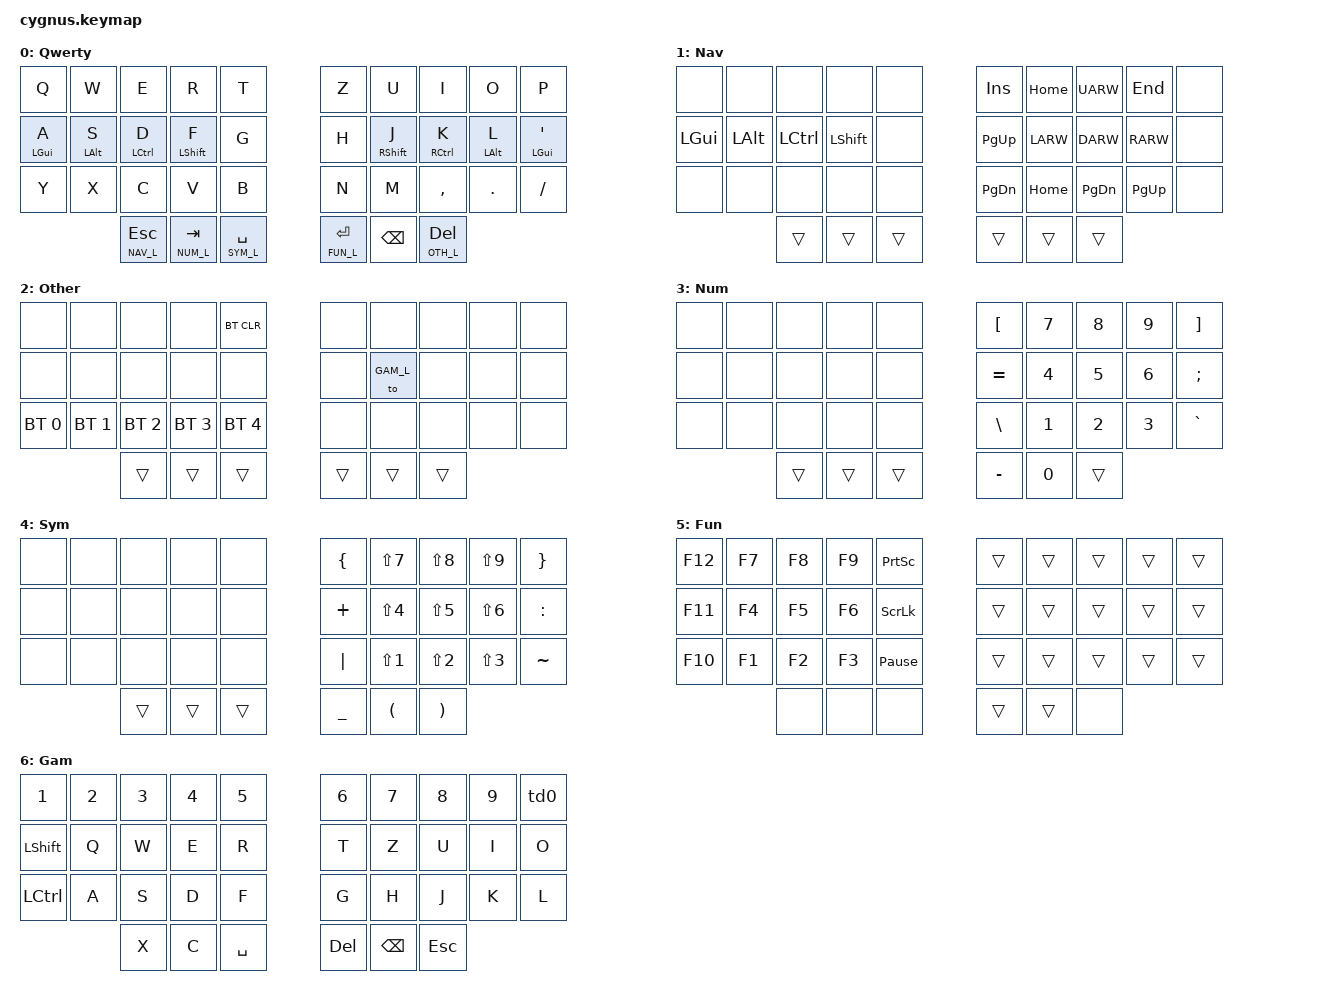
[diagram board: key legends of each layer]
/*
*
* Copyright (c) 2024 Rafael Romão
* SPDX-License-Identifier: MIT
*
*/

#include <behaviors.dtsi>
#include <dt-bindings/zmk/keys.h>
#include <dt-bindings/zmk/bt.h>

#define HOM_L 0
#define NAV_L 1
#define OTH_L 2
#define NUM_L 3
#define SYM_L 4
#define FUN_L 5
#define GAM_L 6

/ {
    behaviors {
        hm: homerow_mods {
            compatible = "zmk,behavior-hold-tap";
            label = "homerow mods";
            #binding-cells = <2>;
            tapping_term_ms = <200>;
            flavor = "tap-preferred";
            bindings = <&kp>, <&kp>;
        };

        td0: tap_dance_home {
            compatible = "zmk,behavior-tap-dance";
            #binding-cells = <0>;
            tapping-term-ms = <200>;
            bindings = <&kp P>, <&to HOM_L>;
        };

        td_lshift: tap_dance_caps_l {
            compatible = "zmk,behavior-tap-dance";
            #binding-cells = <0>;
            tapping-term-ms = <200>;
            bindings = <&hm LSHIFT F>, <&sk LSHIFT>, <&kp CAPS>;
        };

        td_rshift: tap_dance_caps_r {
            compatible = "zmk,behavior-tap-dance";
            #binding-cells = <0>;
            tapping-term-ms = <200>;
            bindings = <&hm LSHIFT J>, <&sk RSHIFT>, <&kp CAPS>;
        };
    };

    combos {
        compatible = "zmk,combos";
        combo_bksp {
            timeout-ms = <50>;
            require-prior-idle-ms = <200>;
            key-positions = <17 18>;
            bindings = <&kp BKSP>;
        };
        combo_capslck {
            timeout-ms = <50>;
            require-prior-idle-ms = <200>;
            key-positions = <10 11>;
            bindings = <&kp CAPS>;
        };
        combo_tab {
            timeout-ms = <50>;
            require-prior-idle-ms = <200>;
            key-positions = <11 12>;
            bindings = <&kp TAB>;
        };
        combo_home_layer {
            timeout-ms = <50>;
            require-prior-idle-ms = <200>;
            key-positions = <9 33>;
            bindings = <&to HOM_L>;
            layers = <GAM_L>;
        };
    };

    keymap {
        compatible = "zmk,keymap";

        qwerty_layer {
            label = "Qwerty";
            bindings = <
                &kp Q      &kp W      &kp E             &kp R          &kp T            &kp Z            &kp U          &kp I       &kp O      &kp P
                &hm LGUI A &hm LALT S &hm LCTRL D       &hm LSHIFT F   &kp G            &kp H            &hm RSHIFT J   &hm RCTRL K &hm LALT L &hm LGUI QUOT
                &kp Y      &kp X      &kp C             &kp V          &kp B            &kp N            &kp M          &kp COMMA   &kp DOT    &kp FSLH
                                      &lt NAV_L ESC     &lt NUM_L TAB  &lt SYM_L SPACE  &lt FUN_L RET    &kp BKSP       &lt OTH_L DEL       
            >;
        };

        nav_layer {
            label = "Nav";
            bindings = <
                &none     &none         &none       &none          &none         &kp INS         &kp HOME       &kp UARW    &kp END    &none
                &kp LGUI   &kp LALT     &kp LCTRL   &kp LSHFT      &none         &kp PG_UP       &kp LARW       &kp DARW    &kp RARW   &none
                &none     &none         &none       &none          &none         &kp PG_DN       &kp HOME       &kp PG_DN   &kp PG_UP  &none
                                        &trans      &trans         &trans        &trans          &trans         &trans          
            >;
        };

        other_layer {
            label = "Other";
            bindings = <
                &none	        &none           &none           &none           &bt BT_CLR      &none           &none         &none       &none       &none
                &none           &none           &none           &none           &none           &none           &to GAM_L    &none       &none       &none
                &bt BT_SEL 0    &bt BT_SEL 1    &bt BT_SEL 2    &bt BT_SEL 3    &bt BT_SEL 4    &none           &none         &none       &none       &none
                                &trans           &trans          &trans          &trans          &trans         &trans       
            >;
        };

        num_layer {
            label = "Num";
            bindings = <
                &none     &none         &none       &none          &none      &kp LBKT      &kp N7      &kp N8      &kp N9          &kp RBKT   
                &none     &none         &none       &none          &none      &kp EQUAL     &kp N4      &kp N5      &kp N6          &kp SEMI  
                &none     &none         &none       &none          &none      &kp BACKSLASH &kp N1      &kp N2      &kp N3          &kp GRAVE   
                                        &trans       &trans        &trans     &kp MINUS        &kp N0      &trans       
            >;
        };

        sym_layer {
            label = "Sym";
            bindings = <
                &none     &none         &none       &none          &none    &kp LBRC     &kp LS(N7)  &kp LS(N8)  &kp LS(N9) &kp RBRC    
                &none     &none         &none       &none          &none    &kp PLUS    &kp LS(N4)  &kp LS(N5)  &kp LS(N6) &kp COLON    
                &none     &none         &none       &none          &none    &kp PIPE    &kp LS(N1)  &kp LS(N2)  &kp LS(N3) &kp TILDE
                                        &trans      &trans         &trans   &kp UNDER    &kp LPAR    &kp RPAR          
            >;
        };

        fun_layer {
            label = "Fun";
            bindings = <
                &kp F12     &kp F7     &kp F8      &kp F9     &kp PSCRN         &trans          &trans         &trans      &trans     &trans
                &kp F11     &kp F4     &kp F5      &kp F6     &kp SLCK          &trans          &trans         &trans      &trans     &trans
                &kp F10     &kp F1     &kp F2      &kp F3     &kp PAUSE_BREAK   &trans          &trans         &trans      &trans     &trans
                                       &none       &none      &none             &trans          &trans         &none        
            >;
        };

        gam_layer {
            label = "Gam";
            bindings = <
                &kp N1     &kp N2     &kp N3            &kp N4         &kp N5           &kp N6           &kp N7         &kp N8      &kp N9     &td0
                &kp LSHFT  &kp Q      &kp W             &kp E          &kp R            &kp T            &kp Z          &kp U       &kp I      &kp O
                &kp LCTRL  &kp A      &kp S             &kp D          &kp F            &kp G            &kp H          &kp J       &kp K      &kp L
                                      &kp X             &kp C          &kp SPACE        &kp DEL          &kp BKSP       &kp ESC        
            >;
        };
    };
};
